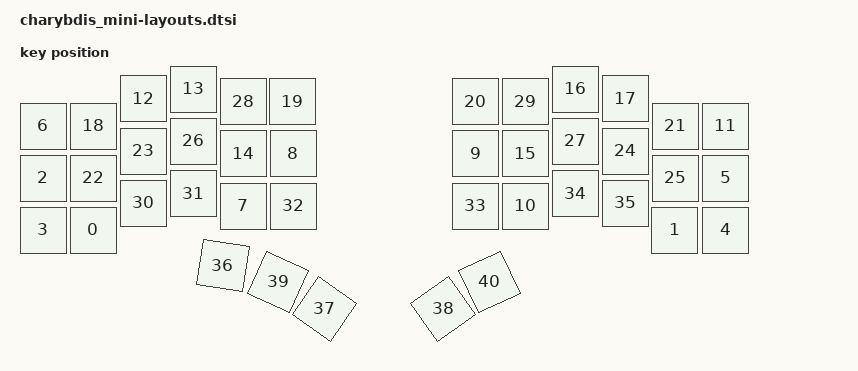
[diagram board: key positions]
#include <physical_layouts.dtsi>

/ {
    charybdis_3x6_layout: charybdis_3x6_layout {
        compatible = "zmk,physical-layout";
        display-name = "3x6 Layout";
        transform = <&charybdis_3x6_transform>;
        kscan = <&kscan0>;

        keys  //                     w   h    x    y     rot    rx    ry
            = <&key_physical_attrs 100 100  100  282       0     0     0>
            , <&key_physical_attrs 100 100 1263  282       0     0     0>
            , <&key_physical_attrs 100 100    0  178       0     0     0>
            , <&key_physical_attrs 100 100    0  282       0     0     0>
            , <&key_physical_attrs 100 100 1365  282       0     0     0>
            , <&key_physical_attrs 100 100 1365  178       0     0     0>
            , <&key_physical_attrs 100 100    0   74       0     0     0>
            , <&key_physical_attrs 100 100  400  234       0     0     0>
            , <&key_physical_attrs 100 100  500  129       0     0     0>
            , <&key_physical_attrs 100 100  865  129       0     0     0>
            , <&key_physical_attrs 100 100  965  234       0     0     0>
            , <&key_physical_attrs 100 100 1365   74       0     0     0>
            , <&key_physical_attrs 100 100  200   19       0     0     0>
            , <&key_physical_attrs 100 100  300    0       0     0     0>
            , <&key_physical_attrs 100 100  400  129       0     0     0>
            , <&key_physical_attrs 100 100  965  129       0     0     0>
            , <&key_physical_attrs 100 100 1065    0       0     0     0>
            , <&key_physical_attrs 100 100 1165   19       0     0     0>
            , <&key_physical_attrs 100 100  100   74       0     0     0>
            , <&key_physical_attrs 100 100  498   25       0     0     0>
            , <&key_physical_attrs 100 100  865   25       0     0     0>
            , <&key_physical_attrs 100 100 1265   74       0     0     0>
            , <&key_physical_attrs 100 100  100  178       0     0     0>
            , <&key_physical_attrs 100 100  200  124       0     0     0>
            , <&key_physical_attrs 100 100 1165  124       0     0     0>
            , <&key_physical_attrs 100 100 1265  178       0     0     0>
            , <&key_physical_attrs 100 100  300  104       0     0     0>
            , <&key_physical_attrs 100 100 1065  104       0     0     0>
            , <&key_physical_attrs 100 100  400   25       0     0     0>
            , <&key_physical_attrs 100 100  965   25       0     0     0>
            , <&key_physical_attrs 100 100  200  228       0     0     0>
            , <&key_physical_attrs 100 100  300  209       0     0     0>
            , <&key_physical_attrs 100 100  500  234       0     0     0>
            , <&key_physical_attrs 100 100  865  234       0     0     0>
            , <&key_physical_attrs 100 100 1065  209       0     0     0>
            , <&key_physical_attrs 100 100 1165  228       0     0     0>
            , <&key_physical_attrs 100 100  360  353     900   410   403>
            , <&key_physical_attrs 100 100  563  440    3500   613   490>
            , <&key_physical_attrs 100 100  800  440 (-3500)   850   490>
            , <&key_physical_attrs 100 100  470  386    2500   520   436>
            , <&key_physical_attrs 100 100  893  386 (-2500)   943   436>
            ;
    };
};
